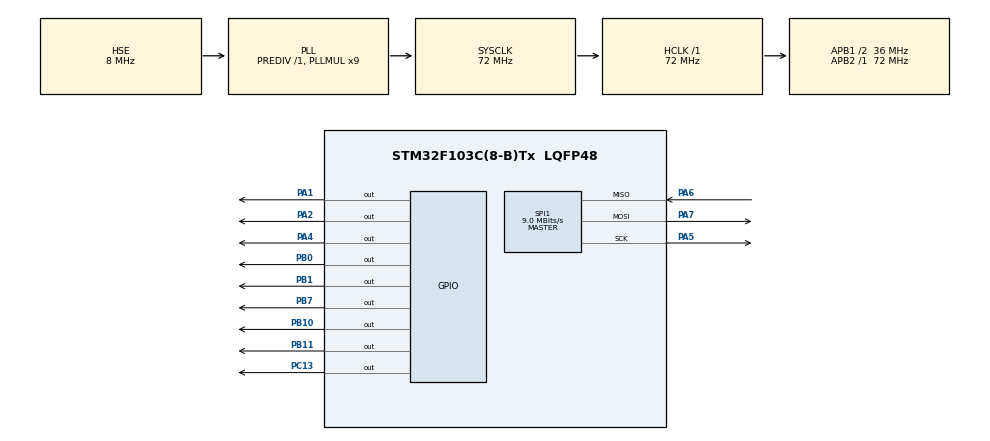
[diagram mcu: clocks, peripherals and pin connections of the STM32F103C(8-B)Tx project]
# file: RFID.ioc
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Mcu.Family=STM32F1
Mcu.Name=STM32F103C(8-B)Tx
Mcu.Package=LQFP48
NVIC.PriorityGroup=NVIC_PRIORITYGROUP_4
PA1.Signal=GPIO_Output
PA2.Signal=GPIO_Output
PA4.Signal=GPIO_Output
PA5.Mode=Full_Duplex_Master
PA5.Signal=SPI1_SCK
PA6.Mode=Full_Duplex_Master
PA6.Signal=SPI1_MISO
PA7.Mode=Full_Duplex_Master
PA7.Signal=SPI1_MOSI
PB0.Signal=GPIO_Output
PB1.Signal=GPIO_Output
PB10.Signal=GPIO_Output
PB11.Signal=GPIO_Output
PB7.Signal=GPIO_Output
PC13-TAMPER-RTC.Signal=GPIO_Output
PD0-OSC_IN.Mode=HSE-External-Oscillator
PD0-OSC_IN.Signal=RCC_OSC_IN
PD1-OSC_OUT.Mode=HSE-External-Oscillator
PD1-OSC_OUT.Signal=RCC_OSC_OUT
ProjectManager.HeapSize=0x200
ProjectManager.StackSize=0x400
ProjectManager.TargetToolchain=STM32CubeIDE
RCC.AHBFreq_Value=72000000
RCC.APB1CLKDivider=RCC_HCLK_DIV2
RCC.APB1Freq_Value=36000000
RCC.APB1TimFreq_Value=72000000
RCC.APB2Freq_Value=72000000
RCC.APB2TimFreq_Value=72000000
RCC.HCLKFreq_Value=72000000
RCC.PLLMUL=RCC_PLL_MUL9
RCC.PLLSourceVirtual=RCC_PLLSOURCE_HSE
RCC.SYSCLKFreq_VALUE=72000000
RCC.SYSCLKSource=RCC_SYSCLKSOURCE_PLLCLK
RCC.USBFreq_Value=72000000
SPI1.BaudRatePrescaler=SPI_BAUDRATEPRESCALER_8
SPI1.CalculateBaudRate=9.0 MBits/s
SPI1.Direction=SPI_DIRECTION_2LINES
SPI1.Mode=SPI_MODE_MASTER
SPI1.VirtualType=VM_MASTER
VP_SYS_VS_ND.Mode=No_Debug
board=custom

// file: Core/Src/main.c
/* USER CODE BEGIN Header */
/**
  ******************************************************************************
  * @file           : main.c
  * @brief          : Main program body
  ******************************************************************************
  * @attention
  *
  * Copyright (c) 2025 STMicroelectronics.
  * All rights reserved.
  *
  * This software is licensed under terms that can be found in the LICENSE file
  * in the root directory of this software component.
  * If no LICENSE file comes with this software, it is provided AS-IS.
  *
  ******************************************************************************
  */
/* USER CODE END Header */
#include "main.h"

/* USER CODE BEGIN Includes */
#include "rc522.h"
#include "string.h"
#include "../../ECUAL/LCD16X2/LCD16X2.h"
#include <stdio.h>

#define MyLCD LCD16X2_1

/* USER CODE END Includes */

SPI_HandleTypeDef hspi1;

/* USER CODE BEGIN PV */
uint8_t status;
uint8_t str[MAX_LEN]; // Max_LEN = 16
uint8_t sNum[5]={'\0'};

/* USER CODE END PV */

void SystemClock_Config(void);
static void MX_GPIO_Init(void);
static void MX_SPI1_Init(void);

int main(void)
{

  /* MCU Configuration--------------------------------------------------------*/

  /* Reset of all peripherals, Initializes the Flash interface and the Systick. */
  HAL_Init();

  /* Configure the system clock */
  SystemClock_Config();

  /* Initialize all configured peripherals */
  MX_GPIO_Init();
  MX_SPI1_Init();
  /* USER CODE BEGIN 2 */
  MFRC522_Init();

        LCD16X2_Init(MyLCD);
        LCD16X2_Clear(MyLCD);
        LCD16X2_Set_Cursor(MyLCD, 1, 1);
        LCD16X2_Write_String(MyLCD, "  Abdallah");
        LCD16X2_Set_Cursor(MyLCD, 2, 1);
        LCD16X2_Write_String(MyLCD, "Abd El-Baset");
        HAL_Delay(2000);
        char uidText[20]={'\0'};

  /* USER CODE END 2 */

  /* Infinite loop */
  while (1)
  {

    /* USER CODE BEGIN 3 */

  		status = MFRC522_Request(PICC_REQIDL, str);
	  		status = MFRC522_Anticoll(str);
	  		if (status == MI_OK)
	  		{

	  		        // Convert UID bytes into readable text

	  		        sprintf(uidText, "%02X %02X %02X %02X %02X", str[0], str[1], str[2], str[3], str[4]);
	  		        LCD16X2_Clear(MyLCD);
	  		        LCD16X2_Set_Cursor(MyLCD, 1, 1);
	  		        LCD16X2_Write_String(MyLCD, "Card UID:");
	  		        LCD16X2_Set_Cursor(MyLCD, 2, 1);
	  		        LCD16X2_Write_String(MyLCD,uidText);

	  		}
	  		else if(status==MI_ERR )
	  		{
	  			LCD16X2_Clear(MyLCD);
	  				  		        LCD16X2_Set_Cursor(MyLCD, 1, 1);
	  				  		        LCD16X2_Write_String(MyLCD, "ERR");

	  		}
	  		else
	  		{
	  			LCD16X2_Clear(MyLCD);

	  			 LCD16X2_Set_Cursor(MyLCD, 1, 1);
	  			LCD16X2_Write_String(MyLCD, "Place A Card ..");
	  		}
	        HAL_Delay(1500);

	      // Try to find a card
	   /*   status = MFRC522_Request(PICC_REQIDL, str);

	      if (status == MI_OK)
	      {
	          // Card found, now try to read its UID
	          status = MFRC522_Anticoll(str);

	          if (status == MI_OK)
	          {
	              // Success! Display the UID
	              //sprintf(uidText, "%02X%02X%02X%02X", str[0], str[1], str[2], str[3]);

	              LCD16X2_Clear(MyLCD);
	              LCD16X2_Set_Cursor(MyLCD, 1, 1);
	              LCD16X2_Write_String(MyLCD, "Card Detected!");
	              LCD16X2_Set_Cursor(MyLCD, 2, 1);
	              LCD16X2_Write_String(MyLCD, str);

	              HAL_Delay(3000);

	              // Important: Halt the card to prevent repeated reading
	              MFRC522_Halt();
	          }
	          else
	          {
	              // Card found but couldn't read UID
	              LCD16X2_Clear(MyLCD);
	              LCD16X2_Set_Cursor(MyLCD, 1, 1);
	              LCD16X2_Write_String(MyLCD, "Read Error");
	              HAL_Delay(1000);
	          }
	      }
	      else
	      {
	          // No card found
	          static uint8_t firstTime = 1;
	          if (firstTime)
	          {
	              LCD16X2_Clear(MyLCD);
	              LCD16X2_Set_Cursor(MyLCD, 1, 1);
	              LCD16X2_Write_String(MyLCD, "No Card");
	              LCD16X2_Set_Cursor(MyLCD, 2, 1);
	              LCD16X2_Write_String(MyLCD, "Place Card Here");
	              firstTime = 0;
	          }
	      }

	      HAL_Delay(300);*/

	          //HAL_Delay(3000);
	         // LCD16X2_Clear(MyLCD);
	  // if((str[0]==115) && (str[1]==93) && (str[2]==75) && (str[3]==22) && (str[4]==115) )
	  // {
	    // HAL_GPIO_WritePin(GPIOC,GPIO_PIN_13,0);
	    // HAL_Delay(100);
	    // }
	  // else if((str[0]==199) && (str[1]==102) && (str[2]==209) && (str[3]==215) && (str[4]==167) )
	    // {
	    // HAL_GPIO_WritePin(GPIOC,GPIO_PIN_13,0);
	    // HAL_Delay(2000);
	  // }
	  // else
	  // {
	    // HAL_GPIO_WritePin(GPIOC,GPIO_PIN_13,1);
	  // }
  }
  /* USER CODE END 3 */
}

void SystemClock_Config(void)
{
  RCC_OscInitTypeDef RCC_OscInitStruct = {0};
  RCC_ClkInitTypeDef RCC_ClkInitStruct = {0};

  /** Initializes the RCC Oscillators according to the specified parameters
  * in the RCC_OscInitTypeDef structure.
  */
  RCC_OscInitStruct.OscillatorType = RCC_OSCILLATORTYPE_HSE;
  RCC_OscInitStruct.HSEState = RCC_HSE_ON;
  RCC_OscInitStruct.HSEPredivValue = RCC_HSE_PREDIV_DIV1;
  RCC_OscInitStruct.HSIState = RCC_HSI_ON;
  RCC_OscInitStruct.PLL.PLLState = RCC_PLL_ON;
  RCC_OscInitStruct.PLL.PLLSource = RCC_PLLSOURCE_HSE;
  RCC_OscInitStruct.PLL.PLLMUL = RCC_PLL_MUL9;
  if (HAL_RCC_OscConfig(&RCC_OscInitStruct) != HAL_OK)
  {
    Error_Handler();
  }

  /** Initializes the CPU, AHB and APB buses clocks
  */
  RCC_ClkInitStruct.ClockType = RCC_CLOCKTYPE_HCLK|RCC_CLOCKTYPE_SYSCLK
                              |RCC_CLOCKTYPE_PCLK1|RCC_CLOCKTYPE_PCLK2;
  RCC_ClkInitStruct.SYSCLKSource = RCC_SYSCLKSOURCE_PLLCLK;
  RCC_ClkInitStruct.AHBCLKDivider = RCC_SYSCLK_DIV1;
  RCC_ClkInitStruct.APB1CLKDivider = RCC_HCLK_DIV2;
  RCC_ClkInitStruct.APB2CLKDivider = RCC_HCLK_DIV1;

  if (HAL_RCC_ClockConfig(&RCC_ClkInitStruct, FLASH_LATENCY_2) != HAL_OK)
  {
    Error_Handler();
  }
}

static void MX_SPI1_Init(void)
{

  /* SPI1 parameter configuration*/
  hspi1.Instance = SPI1;
  hspi1.Init.Mode = SPI_MODE_MASTER;
  hspi1.Init.Direction = SPI_DIRECTION_2LINES;
  hspi1.Init.DataSize = SPI_DATASIZE_8BIT;
  hspi1.Init.CLKPolarity = SPI_POLARITY_LOW;
  hspi1.Init.CLKPhase = SPI_PHASE_1EDGE;
  hspi1.Init.NSS = SPI_NSS_SOFT;
  hspi1.Init.BaudRatePrescaler = SPI_BAUDRATEPRESCALER_8;
  hspi1.Init.FirstBit = SPI_FIRSTBIT_MSB;
  hspi1.Init.TIMode = SPI_TIMODE_DISABLE;
  hspi1.Init.CRCCalculation = SPI_CRCCALCULATION_DISABLE;
  hspi1.Init.CRCPolynomial = 10;
  if (HAL_SPI_Init(&hspi1) != HAL_OK)
  {
    Error_Handler();
  }

}

static void MX_GPIO_Init(void)
{
  GPIO_InitTypeDef GPIO_InitStruct = {0};

  /* GPIO Ports Clock Enable */
  __HAL_RCC_GPIOC_CLK_ENABLE();
  __HAL_RCC_GPIOD_CLK_ENABLE();
  __HAL_RCC_GPIOA_CLK_ENABLE();
  __HAL_RCC_GPIOB_CLK_ENABLE();

  /*Configure GPIO pin Output Level */
  HAL_GPIO_WritePin(GPIOC, GPIO_PIN_13, GPIO_PIN_RESET);

  /*Configure GPIO pin Output Level */
  HAL_GPIO_WritePin(GPIOA, GPIO_PIN_1|GPIO_PIN_2|GPIO_PIN_4, GPIO_PIN_RESET);

  /*Configure GPIO pin Output Level */
  HAL_GPIO_WritePin(GPIOB, GPIO_PIN_0|GPIO_PIN_1|GPIO_PIN_10|GPIO_PIN_11
                          |GPIO_PIN_7, GPIO_PIN_RESET);

  /*Configure GPIO pin : PC13 */
  GPIO_InitStruct.Pin = GPIO_PIN_13;
  GPIO_InitStruct.Mode = GPIO_MODE_OUTPUT_PP;
  GPIO_InitStruct.Pull = GPIO_NOPULL;
  GPIO_InitStruct.Speed = GPIO_SPEED_FREQ_LOW;
  HAL_GPIO_Init(GPIOC, &GPIO_InitStruct);

  /*Configure GPIO pins : PA1 PA2 PA4 */
  GPIO_InitStruct.Pin = GPIO_PIN_1|GPIO_PIN_2|GPIO_PIN_4;
  GPIO_InitStruct.Mode = GPIO_MODE_OUTPUT_PP;
  GPIO_InitStruct.Pull = GPIO_NOPULL;
  GPIO_InitStruct.Speed = GPIO_SPEED_FREQ_LOW;
  HAL_GPIO_Init(GPIOA, &GPIO_InitStruct);

  /*Configure GPIO pins : PB0 PB1 PB10 PB11
                           PB7 */
  GPIO_InitStruct.Pin = GPIO_PIN_0|GPIO_PIN_1|GPIO_PIN_10|GPIO_PIN_11
                          |GPIO_PIN_7;
  GPIO_InitStruct.Mode = GPIO_MODE_OUTPUT_PP;
  GPIO_InitStruct.Pull = GPIO_NOPULL;
  GPIO_InitStruct.Speed = GPIO_SPEED_FREQ_LOW;
  HAL_GPIO_Init(GPIOB, &GPIO_InitStruct);

}

void Error_Handler(void)
{
  __disable_irq();
  while (1)
  {
  }
}
